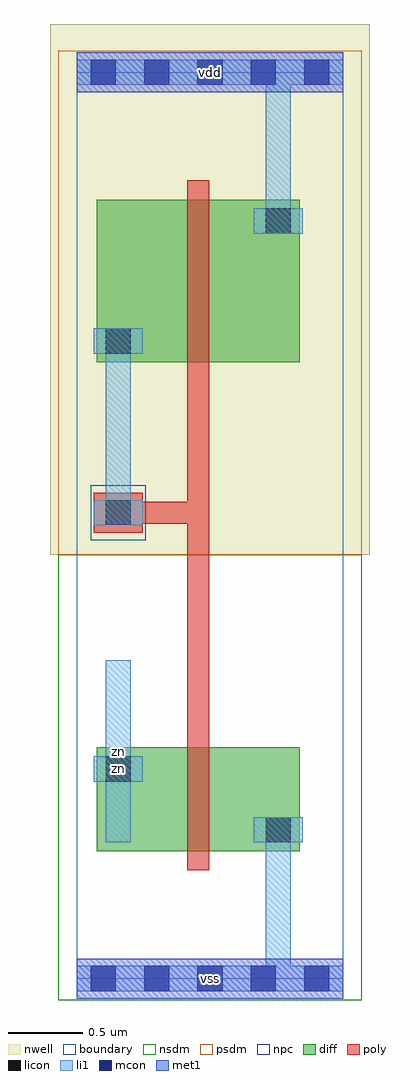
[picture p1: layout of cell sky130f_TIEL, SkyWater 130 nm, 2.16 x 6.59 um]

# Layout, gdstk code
import gdstk
lib = gdstk.Library(unit=1e-6, precision=1e-09)
def R(c, l, rs):  # rectangles x0, y0, x1, y1
    for r in rs: c.add(gdstk.rectangle(r[:2], r[2:], *l))
def A(c, l, x, y, w, h, nx, ny, dx, dy):  # array of equal rectangles
    R(c, l, [(x+i*dx, y+j*dy, x+i*dx+w, y+j*dy+h) for i in range(nx) for j in range(ny)])
L0_0 = (0, 0)
nwell = (64, 20)
diff = (65, 20)
poly = (66, 20)
licon = (66, 44)
li1 = (67, 20)
mcon = (67, 44)
met1 = (68, 20)
nsdm = (93, 44)
psdm = (94, 20)
npc = (95, 20)
boundary = (235, 4)

sky130f_tiel = lib.new_cell('sky130f_TIEL')
R(sky130f_tiel, nwell, [(-0.18,2.86,1.98,6.445)])
R(sky130f_tiel, diff, [(0.135,0.86,1.505,1.56), (1.215,0.86,1.505,1.15), (0.135,1.27,0.425,1.56), (0.135,4.16,1.505,5.26), (0.135,4.16,0.425,4.45), (1.215,4.97,1.505,5.26)])
R(sky130f_tiel, poly, [(0.745,0.73,0.895,1.69), (0.745,1.34,0.895,3.22), (0.745,2.53,0.895,3.22), (0.115,3.01,0.445,3.28), (0.205,3.07,0.895,3.22), (0.745,3.07,0.895,4.38), (0.745,4.03,0.895,5.39)])
R(sky130f_tiel, licon, [(1.275,0.92,1.445,1.09), (0.195,1.33,0.365,1.5), (0.195,3.06,0.365,3.23), (0.195,4.22,0.365,4.39), (1.275,5.03,1.445,5.2)])
R(sky130f_tiel, li1, [(0,-0.085,1.8,0.085), (1.275,0.06,1.445,1.09), (0.195,0.92,0.365,2.15), (1.195,0.92,1.525,1.09), (0.115,1.33,0.445,1.5), (0.115,3.06,0.445,3.23), (0.195,3.06,0.365,4.39), (0.115,4.22,0.445,4.39), (1.195,5.03,1.525,5.2), (1.275,5.03,1.445,6.06), (0,6.035,1.8,6.205)])
A(sky130f_tiel, mcon, 0.095, -0.085, 0.17, 0.17, 5, 2, 0.36, 6.12)
R(sky130f_tiel, met1, [(0,-0.135,1.8,0.135), (0,5.985,1.8,6.255)])
R(sky130f_tiel, nsdm, [(-0.125,-0.145,1.925,0.145), (-0.125,0.145,1.925,2.86)])
R(sky130f_tiel, psdm, [(-0.125,2.86,1.925,5.975), (-0.125,5.975,1.925,6.265)])
R(sky130f_tiel, npc, [(0.095,2.96,0.465,3.33)])
R(sky130f_tiel, boundary, [(0,0,1.8,6.12)])
sky130f_tiel.add(gdstk.FlexPath([(0.115,0.355),(1.525,0.355)], 0, ends="flush", simple_path=True, layer=0, datatype=0))  # L0_0
sky130f_tiel.add(gdstk.FlexPath([(0.115,1.005),(1.525,1.005)], 0, ends="flush", simple_path=True, layer=0, datatype=0))  # L0_0
sky130f_tiel.add(gdstk.FlexPath([(0.115,1.415),(1.525,1.415)], 0, ends="flush", simple_path=True, layer=0, datatype=0))  # L0_0
sky130f_tiel.add(gdstk.FlexPath([(0.115,2.065),(1.525,2.065)], 0, ends="flush", simple_path=True, layer=0, datatype=0))  # L0_0
sky130f_tiel.add(gdstk.FlexPath([(0.115,2.605),(1.525,2.605)], 0, ends="flush", simple_path=True, layer=0, datatype=0))  # L0_0
sky130f_tiel.add(gdstk.FlexPath([(0.115,3.145),(1.525,3.145)], 0, ends="flush", simple_path=True, layer=0, datatype=0))  # L0_0
sky130f_tiel.add(gdstk.FlexPath([(0.115,4.305),(1.525,4.305)], 0, ends="flush", simple_path=True, layer=0, datatype=0))  # L0_0
sky130f_tiel.add(gdstk.FlexPath([(0.115,4.775),(1.525,4.775)], 0, ends="flush", simple_path=True, layer=0, datatype=0))  # L0_0
sky130f_tiel.add(gdstk.FlexPath([(0.115,5.115),(1.525,5.115)], 0, ends="flush", simple_path=True, layer=0, datatype=0))  # L0_0
sky130f_tiel.add(gdstk.FlexPath([(0.115,5.765),(1.525,5.765)], 0, ends="flush", simple_path=True, layer=0, datatype=0))  # L0_0
sky130f_tiel.add(gdstk.FlexPath([(0.28,0.06),(0.28,6.06)], 0, ends="flush", simple_path=True, layer=0, datatype=0))  # L0_0
sky130f_tiel.add(gdstk.FlexPath([(0.82,0.06),(0.82,6.06)], 0, ends="flush", simple_path=True, layer=0, datatype=0))  # L0_0
sky130f_tiel.add(gdstk.FlexPath([(1.36,0.06),(1.36,6.06)], 0, ends="flush", simple_path=True, layer=0, datatype=0))  # L0_0
sky130f_tiel.add(gdstk.Label('zn', (0.28,1.415), layer=65, texttype=20))
sky130f_tiel.add(gdstk.Label('zn', (0.28,1.415), layer=66, texttype=44))
sky130f_tiel.add(gdstk.Label('zn', (0.28,1.415), layer=67, texttype=5))
sky130f_tiel.add(gdstk.Label('zn', (0.28,1.535), layer=67, texttype=5))
sky130f_tiel.add(gdstk.Label('vss', (0.9,0), layer=67, texttype=5))
sky130f_tiel.add(gdstk.Label('vdd', (0.9,6.12), layer=67, texttype=5))
sky130f_tiel.add(gdstk.Label('vss', (0.9,0), layer=68, texttype=5))
sky130f_tiel.add(gdstk.Label('vdd', (0.9,6.12), layer=68, texttype=5))

lib.write_gds('sky130f_TIEL.gds')
